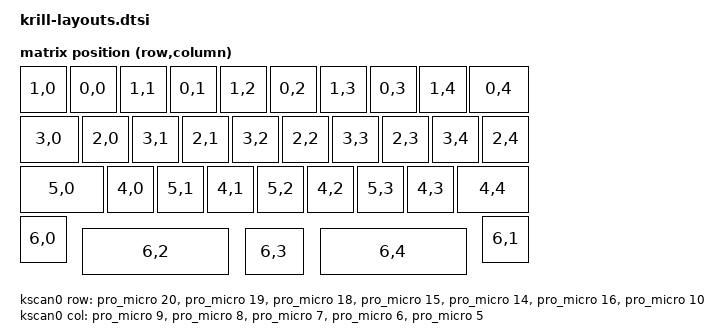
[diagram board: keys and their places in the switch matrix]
#include <physical_layouts.dtsi>

/ {
    matrix_transform0: matrix_transform0 {
        compatible = "zmk,matrix-transform";
        columns = <5>;
        rows = <7>;
        map = <
RC(1,0) RC(0,0) RC(1,1) RC(0,1) RC(1,2) RC(0,2) RC(1,3) RC(0,3) RC(1,4) RC(0,4) 
RC(3,0) RC(2,0) RC(3,1) RC(2,1) RC(3,2) RC(2,2) RC(3,3) RC(2,3) RC(3,4) RC(2,4) 
RC(5,0) RC(4,0) RC(5,1) RC(4,1) RC(5,2) RC(4,2) RC(5,3) RC(4,3) RC(4,4) 
  RC(6,0)   RC(6,1)   RC(6,2)   RC(6,3)   RC(6,4)
        >;
    };

    kscan0: kscan {
        compatible = "zmk,kscan-gpio-matrix";
        label = "KSCAN";
        wakeup-source;

        diode-direction = "col2row";
        row-gpios
            = <&pro_micro 20 (GPIO_ACTIVE_HIGH | GPIO_PULL_DOWN)> 
            , <&pro_micro 19 (GPIO_ACTIVE_HIGH | GPIO_PULL_DOWN)> 
            , <&pro_micro 18 (GPIO_ACTIVE_HIGH | GPIO_PULL_DOWN)> 
            , <&pro_micro 15 (GPIO_ACTIVE_HIGH | GPIO_PULL_DOWN)> 
            , <&pro_micro 14 (GPIO_ACTIVE_HIGH | GPIO_PULL_DOWN)> 
            , <&pro_micro 16 (GPIO_ACTIVE_HIGH | GPIO_PULL_DOWN)> 
            , <&pro_micro 10 (GPIO_ACTIVE_HIGH | GPIO_PULL_DOWN)> 
            ;

        col-gpios
            = <&pro_micro 9 GPIO_ACTIVE_HIGH> 
            , <&pro_micro 8 GPIO_ACTIVE_HIGH> 
            , <&pro_micro 7 GPIO_ACTIVE_HIGH> 
            , <&pro_micro 6 GPIO_ACTIVE_HIGH> 
            , <&pro_micro 5 GPIO_ACTIVE_HIGH> 
            ;
        };

    physical_layout0: physical_layout_0 {
        compatible = "zmk,physical-layout";
        display-name = "default";

        kscan = <&kscan0>;
        transform = <&matrix_transform0>;

        keys  //                     w   h    x    y     rot    rx    ry
            = <&key_physical_attrs 100 100    0    0       0     0     0>
            , <&key_physical_attrs 100 100  100    0       0     0     0>
            , <&key_physical_attrs 100 100  200    0       0     0     0>
            , <&key_physical_attrs 100 100  300    0       0     0     0>
            , <&key_physical_attrs 100 100  400    0       0     0     0>
            , <&key_physical_attrs 100 100  500    0       0     0     0>
            , <&key_physical_attrs 100 100  600    0       0     0     0>
            , <&key_physical_attrs 100 100  700    0       0     0     0>
            , <&key_physical_attrs 100 100  800    0       0     0     0>
            , <&key_physical_attrs 125 100  900    0       0     0     0>
            , <&key_physical_attrs 125 100    0  100       0     0     0>
            , <&key_physical_attrs 100 100  125  100       0     0     0>
            , <&key_physical_attrs 100 100  225  100       0     0     0>
            , <&key_physical_attrs 100 100  325  100       0     0     0>
            , <&key_physical_attrs 100 100  425  100       0     0     0>
            , <&key_physical_attrs 100 100  525  100       0     0     0>
            , <&key_physical_attrs 100 100  625  100       0     0     0>
            , <&key_physical_attrs 100 100  725  100       0     0     0>
            , <&key_physical_attrs 100 100  825  100       0     0     0>
            , <&key_physical_attrs 100 100  925  100       0     0     0>
            , <&key_physical_attrs 175 100    0  200       0     0     0>
            , <&key_physical_attrs 100 100  175  200       0     0     0>
            , <&key_physical_attrs 100 100  275  200       0     0     0>
            , <&key_physical_attrs 100 100  375  200       0     0     0>
            , <&key_physical_attrs 100 100  475  200       0     0     0>
            , <&key_physical_attrs 100 100  575  200       0     0     0>
            , <&key_physical_attrs 100 100  675  200       0     0     0>
            , <&key_physical_attrs 100 100  775  200       0     0     0>
            , <&key_physical_attrs 150 100  875  200       0     0     0>
            , <&key_physical_attrs 100 100    0  300       0     0     0>
            , <&key_physical_attrs 100 100  925  300       0     0     0>
            , <&key_physical_attrs 300 100  125  325       0     0     0>
            , <&key_physical_attrs 125 100  450  325       0     0     0>
            , <&key_physical_attrs 300 100  600  325       0     0     0>
            ;
    };
};
